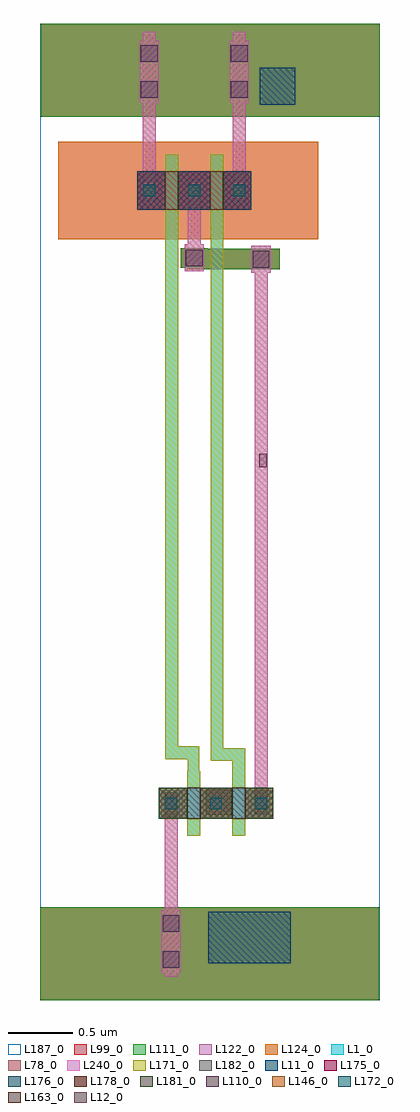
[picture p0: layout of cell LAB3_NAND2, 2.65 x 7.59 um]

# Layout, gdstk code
import gdstk
lib = gdstk.Library(unit=1e-6, precision=1e-09)
def R(c, l, rs):  # rectangles x0, y0, x1, y1
    for r in rs: c.add(gdstk.rectangle(r[:2], r[2:], *l))
def A(c, l, x, y, w, h, nx, ny, dx, dy):  # array of equal rectangles
    R(c, l, [(x+i*dx, y+j*dy, x+i*dx+w, y+j*dy+h) for i in range(nx) for j in range(ny)])
def P(c, l, *ps):  # polygons
    for p in ps: c.add(gdstk.Polygon(p, *l))
L1_0 = (1, 0)
L11_0 = (11, 0)
L12_0 = (12, 0)
L78_0 = (78, 0)
L99_0 = (99, 0)
L110_0 = (110, 0)
L111_0 = (111, 0)
L122_0 = (122, 0)
L124_0 = (124, 0)
L146_0 = (146, 0)
L163_0 = (163, 0)
L171_0 = (171, 0)
L172_0 = (172, 0)
L175_0 = (175, 0)
L176_0 = (176, 0)
L178_0 = (178, 0)
L181_0 = (181, 0)
L182_0 = (182, 0)
L187_0 = (187, 0)
L240_0 = (240, 0)

lab3_nand2 = lib.new_cell('LAB3_NAND2')
P(lab3_nand2, L1_0, [(1.77,4.98),(1.77,0.375),(1.935,0.375),(1.935,0.18),(1.94,0.18),(1.94,-0.32),(1.84,-0.32),(1.84,0.18),(1.845,0.18),(1.845,0.275),(1.67,0.275),(1.67,4.98)],
  [(2.12,4.98),(2.12,0.36),(2.29,0.36),(2.29,-0.32),(2.19,-0.32),(2.19,0.26),(2.025,0.26),(2.025,4.42),(2.02,4.42),(2.02,4.98)])
R(lab3_nand2, L11_0, [(2.005,-1.315,2.645,-0.915), (2.405,5.365,2.68,5.655)])
R(lab3_nand2, L12_0, [(2.4,2.545,2.46,2.65)])
R(lab3_nand2, L78_0, [(1.985,-0.16,2.185,0.04)])
P(lab3_nand2, L78_0, [(1.945,4.785),(1.945,4.28),(1.97,4.28),(1.97,4.07),(1.82,4.07),(1.82,4.28),(1.845,4.28),(1.845,4.785)],
  [(2.295,5.935),(2.295,5.87),(2.32,5.87),(2.32,5.38),(2.295,5.38),(2.295,4.615),(2.195,4.615),(2.195,5.38),(2.17,5.38),(2.17,5.87),(2.195,5.87),(2.195,5.935)],
  [(1.595,5.935),(1.595,5.87),(1.62,5.87),(1.62,5.38),(1.595,5.38),(1.595,4.615),(1.495,4.615),(1.495,5.38),(1.47,5.38),(1.47,5.87),(1.495,5.87),(1.495,5.935)],
  [(1.765,0.015),(1.765,-0.9),(1.79,-0.9),(1.79,-1.39),(1.765,-1.39),(1.765,-1.42),(1.665,-1.42),(1.665,-1.39),(1.64,-1.39),(1.64,-0.9),(1.665,-0.9),(1.665,0.015)],
  [(2.49,4.27),(2.49,4.06),(2.465,4.06),(2.465,-0.155),(2.365,-0.155),(2.365,4.06),(2.34,4.06),(2.34,4.27)])
R(lab3_nand2, L99_0, [(0.695,-1.6,3.335,-0.88), (0.7,5.275,3.34,5.995)])
P(lab3_nand2, L99_0, [(2,4.25),(2,4.245),(2.56,4.245),(2.56,4.085),(1.84,4.085),(1.84,4.1),(1.79,4.1),(1.79,4.25)])
R(lab3_nand2, L110_0, [(1.65,-1.35,1.78,-1.22), (1.65,-1.07,1.78,-0.94), (2.35,4.1,2.48,4.23), (1.83,4.11,1.96,4.24), (1.48,5.42,1.61,5.55), (2.18,5.42,2.31,5.55), (1.48,5.7,1.61,5.83), (2.18,5.7,2.31,5.83)])
R(lab3_nand2, L111_0, [(0.695,-1.6,3.335,-0.88), (0.7,5.275,3.34,5.995)])
P(lab3_nand2, L111_0, [(2,4.25),(2,4.245),(2.56,4.245),(2.56,4.085),(1.84,4.085),(1.84,4.1),(1.79,4.1),(1.79,4.25)])
R(lab3_nand2, L122_0, [(0.835,4.32,2.86,5.08)])
R(lab3_nand2, L124_0, [(0.835,4.32,2.86,5.08)])
R(lab3_nand2, L146_0, [(1.67,4.55,1.77,4.85), (2.02,4.55,2.12,4.85)])
R(lab3_nand2, L163_0, [(1.84,-0.19,1.94,0.05), (2.19,-0.19,2.29,0.05)])
R(lab3_nand2, L171_0, [(1.84,-0.32,1.94,-0.19), (2.19,-0.32,2.29,-0.19), (1.67,4.85,1.77,4.98), (2.02,4.85,2.12,4.98)])
P(lab3_nand2, L171_0, [(2.12,4.55),(2.12,0.36),(2.29,0.36),(2.29,0.05),(2.19,0.05),(2.19,0.26),(2.025,0.26),(2.025,4.42),(2.02,4.42),(2.02,4.55)],
  [(1.77,4.55),(1.77,0.375),(1.935,0.375),(1.935,0.18),(1.94,0.18),(1.94,0.05),(1.84,0.05),(1.84,0.18),(1.845,0.18),(1.845,0.275),(1.67,0.275),(1.67,4.55)])
A(lab3_nand2, L172_0, 1.67, -0.115, 0.09, 0.09, 3, 1, 0.35, 0)
A(lab3_nand2, L172_0, 1.5, 4.655, 0.09, 0.09, 3, 1, 0.35, 0)
R(lab3_nand2, L175_0, [(1.45,4.55,1.67,4.85), (1.77,4.55,2.02,4.85), (2.12,4.55,2.34,4.85)])
R(lab3_nand2, L176_0, [(1.45,4.55,1.67,4.85), (1.77,4.55,2.02,4.85), (2.12,4.55,2.34,4.85)])
R(lab3_nand2, L178_0, [(1.62,-0.19,1.84,0.05), (1.94,-0.19,2.19,0.05), (2.29,-0.19,2.51,0.05)])
R(lab3_nand2, L181_0, [(1.62,-0.19,1.84,0.05), (1.94,-0.19,2.19,0.05), (2.29,-0.19,2.51,0.05)])
R(lab3_nand2, L182_0, [(1.62,-0.19,1.84,0.05), (1.94,-0.19,2.19,0.05), (2.29,-0.19,2.51,0.05), (1.45,4.55,1.67,4.85), (1.77,4.55,2.02,4.85), (2.12,4.55,2.34,4.85)])
R(lab3_nand2, L187_0, [(0.695,-1.6,3.34,5.995)])
R(lab3_nand2, L240_0, [(1.985,-0.16,2.185,0.04)])
P(lab3_nand2, L240_0, [(1.945,4.785),(1.945,4.28),(1.97,4.28),(1.97,4.07),(1.82,4.07),(1.82,4.28),(1.845,4.28),(1.845,4.785)],
  [(2.295,5.935),(2.295,5.87),(2.32,5.87),(2.32,5.38),(2.295,5.38),(2.295,4.615),(2.195,4.615),(2.195,5.38),(2.17,5.38),(2.17,5.87),(2.195,5.87),(2.195,5.935)],
  [(1.595,5.935),(1.595,5.87),(1.62,5.87),(1.62,5.38),(1.595,5.38),(1.595,4.615),(1.495,4.615),(1.495,5.38),(1.47,5.38),(1.47,5.87),(1.495,5.87),(1.495,5.935)],
  [(1.765,0.015),(1.765,-0.9),(1.79,-0.9),(1.79,-1.39),(1.765,-1.39),(1.765,-1.42),(1.665,-1.42),(1.665,-1.39),(1.64,-1.39),(1.64,-0.9),(1.665,-0.9),(1.665,0.015)],
  [(2.49,4.27),(2.49,4.06),(2.465,4.06),(2.465,-0.155),(2.365,-0.155),(2.365,4.06),(2.34,4.06),(2.34,4.27)])

lib.write_gds('LAB3_NAND2.gds')
